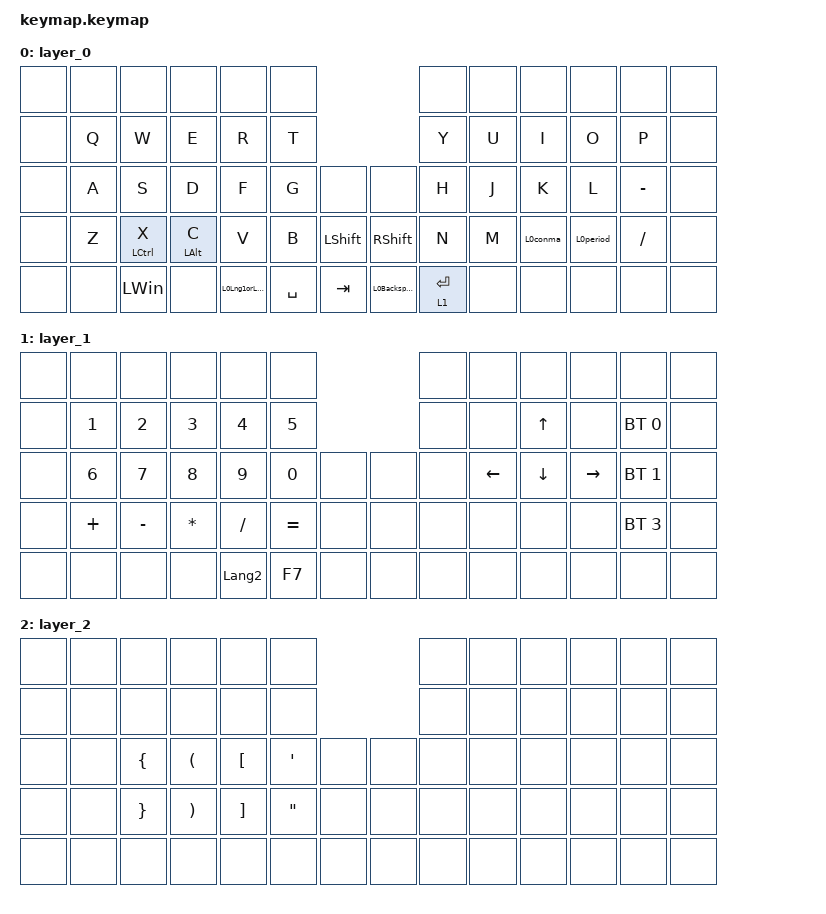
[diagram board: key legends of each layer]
#include <behaviors.dtsi>
#include <dt-bindings/zmk/bt.h>
#include <dt-bindings/zmk/keys.h>

/ {
    combos { compatible = "zmk,combos"; };

    behaviors {
        L0Backspace: L0Backspace {
            compatible = "zmk,behavior-mod-morph";
            label = "L0BACKSPACE";
            bindings = <&lt 2 BACKSPACE>, <&kp DELETE>;

            #binding-cells = <0>;
            mods = <(MOD_LSFT)>;
        };

        L0conma: L0conma {
            compatible = "zmk,behavior-mod-morph";
            label = "L0CONMA";
            bindings = <&mt RIGHT_ALT COMMA>, <&kp EXCLAMATION>;

            #binding-cells = <0>;
            mods = <(MOD_LSFT)>;
        };

        L0period: L0period {
            compatible = "zmk,behavior-mod-morph";
            label = "L0PERIOD";
            bindings = <&mt RIGHT_CONTROL PERIOD>, <&kp QUESTION>;

            #binding-cells = <0>;
            mods = <(MOD_LSFT)>;
        };

        L0Lng1orLng2: L0Lng1orLng2 {
            compatible = "zmk,behavior-tap-dance";
            label = "L0LNG1ORLNG2";
            #binding-cells = <0>;
            bindings = <&kp LANG1>, <&kp LANGUAGE_2>;
        };
    };

    keymap {
        compatible = "zmk,keymap";

        layer_0 {
            bindings = <
&none  &none  &none               &none           &none          &none                                       &none        &none  &none     &none      &none      &none
&none  &kp Q  &kp W               &kp E           &kp R          &kp T                                       &kp Y        &kp U  &kp I     &kp O      &kp P      &none
&none  &kp A  &kp S               &kp D           &kp F          &kp G      &none           &none            &kp H        &kp J  &kp K     &kp L      &kp MINUS  &none
&none  &kp Z  &mt LEFT_CONTROL X  &mt LEFT_ALT C  &kp V          &kp B      &kp LEFT_SHIFT  &kp RIGHT_SHIFT  &kp N        &kp M  &L0conma  &L0period  &kp SLASH  &none
&none  &none  &kp LEFT_WIN        &none           &L0Lng1orLng2  &kp SPACE  &kp TAB         &L0Backspace     &lt 1 ENTER  &none  &none     &none      &none      &none
            >;
        };

        layer_1 {
            bindings = <
&none  &none         &none         &none         &none           &none                    &none  &none           &none           &none            &none         &none
&none  &kp NUMBER_1  &kp NUMBER_2  &kp NUMBER_3  &kp NUMBER_4    &kp N5                   &none  &none           &kp UP          &none            &bt BT_SEL 0  &none
&none  &kp NUMBER_6  &kp N7        &kp N8        &kp N9          &kp N0     &none  &none  &none  &kp LEFT_ARROW  &kp DOWN_ARROW  &kp RIGHT_ARROW  &bt BT_SEL 1  &none
&none  &kp PLUS      &kp MINUS     &kp ASTERISK  &kp SLASH       &kp EQUAL  &none  &none  &none  &none           &none           &none            &bt BT_SEL 3  &none
&none  &none         &none         &none         &kp LANGUAGE_2  &kp F7     &none  &none  &none  &none           &none           &none            &none         &none
            >;
        };

        layer_2 {
            bindings = <
&none  &none  &none            &none                  &none              &none                            &none  &none  &none  &none  &none  &none
&none  &none  &none            &none                  &none              &none                            &none  &none  &none  &none  &none  &none
&none  &none  &kp LEFT_BRACE   &kp LEFT_PARENTHESIS   &kp LEFT_BRACKET   &kp SINGLE_QUOTE   &none  &none  &none  &none  &none  &none  &none  &none
&none  &none  &kp RIGHT_BRACE  &kp RIGHT_PARENTHESIS  &kp RIGHT_BRACKET  &kp DOUBLE_QUOTES  &none  &none  &none  &none  &none  &none  &none  &none
&none  &none  &none            &none                  &none              &none              &none  &none  &none  &none  &none  &none  &none  &none
            >;
        };
    };
};
